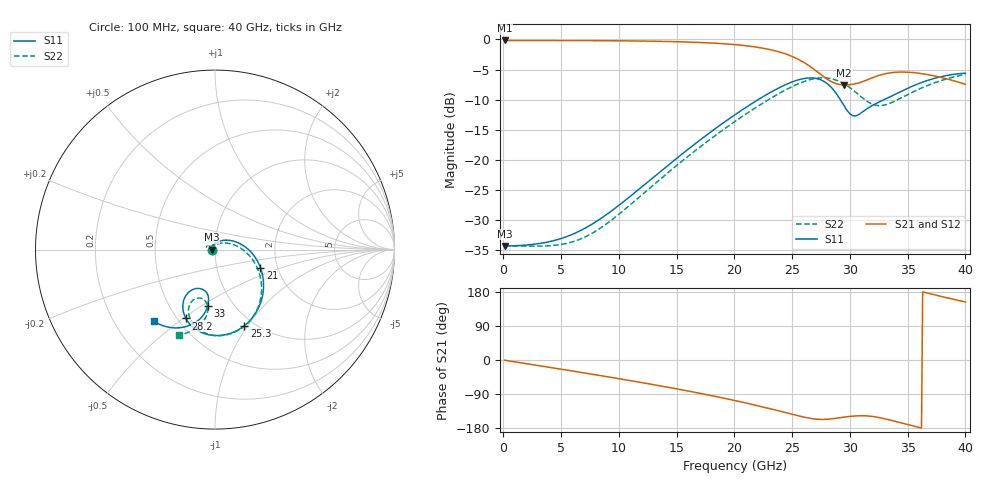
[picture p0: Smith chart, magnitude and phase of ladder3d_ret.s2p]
# Hz S RI R 50
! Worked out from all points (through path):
!   400 points, 100 MHz to 40 GHz, reference 50 ohm
!   highest |S21| = -0.17 dB at 100 MHz (marker M1); lowest = -7.6 dB at 29.5 GHz (marker M2)
!   group delay of S21, straight-line fit = 14.1 ps
!   lowest |S11| = -34.3 dB at 100 MHz (marker M3), VSWR 1.04, Z = 48.1 + j0.0301 ohm
!   |S11| at or under -10 dB: start of sweep to 22.05 GHz; 29.17 GHz to 32.95 GHz (3.781 GHz wide, 12.2 % of centre)
!   |S22| runs from -34.3 to -5.8 dB; largest |S21 - S12| = 0
!   S11 on the Smith chart (normalised r, x): 100 MHz: 0.96, +0.00; 21 GHz: 1.63, -0.36; 25.3 GHz: 0.90, -0.96; 28.2 GHz: 0.55, -0.51; 33 GHz: 0.76, -0.53; 40 GHz: 0.37, -0.41
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1e8  -0.0193 0.000312  0.9807 -0.00824  0.9807 -0.00824  -0.0193 0.00031
3.8e9  -0.0166 0.0124  0.9303 -0.3089  0.9303 -0.3089  -0.0153 0.0119
6.8e9  -0.00894 0.0247  0.8198 -0.5345  0.8198 -0.5345  -0.00538 0.0216
9.2e9  0.00439 0.0365  0.688 -0.6921  0.688 -0.6921  0.00891 0.0295
1.34e10  0.0568 0.0525  0.3731 -0.8902  0.3731 -0.8902  0.0559 0.0369
1.69e10  0.1393 0.0333  0.0466 -0.9436  0.0466 -0.9436  0.124 0.0185
2.01e10  0.2323 -0.0564  -0.2695 -0.8637  -0.2695 -0.8637  0.2042 -0.0491
2.1e10  0.2535 -0.1012  -0.353 -0.8132  -0.353 -0.8132  0.2258 -0.0825
2.34e10  0.2619 -0.2697  -0.5319 -0.6109  -0.5319 -0.6109  0.2597 -0.2125
2.53e10  0.163 -0.4244  -0.579 -0.395  -0.579 -0.395  0.2246 -0.3536
2.67e10  0.00425 -0.4789  -0.5264 -0.25  -0.5264 -0.25  0.1321 -0.4488
2.82e10  -0.1621 -0.3834  -0.4175 -0.1862  -0.4175 -0.1862  -0.0198 -0.4753
2.88e10  -0.1791 -0.3098  -0.3845 -0.1915  -0.3845 -0.1915  -0.0764 -0.4535
2.95e10  -0.1481 -0.238  -0.3643 -0.207  -0.3643 -0.207  -0.1251 -0.4095
3e10  -0.106 -0.2166  -0.36 -0.2184  -0.36 -0.2184  -0.1437 -0.3714
3.05e10  -0.0676 -0.2219  -0.362 -0.2297  -0.362 -0.2297  -0.1478 -0.3337
3.19e10  -0.0359 -0.2793  -0.4092 -0.2486  -0.4092 -0.2486  -0.1042 -0.2719
3.3e10  -0.0416 -0.3151  -0.4688 -0.2194  -0.4688 -0.2194  -0.0625 -0.2785
3.34e10  -0.0457 -0.3284  -0.4873 -0.1988  -0.4873 -0.1988  -0.0523 -0.2886
3.62e10  -0.1325 -0.4183  -0.5205 -0.00426  -0.5205 -0.00426  -0.0591 -0.3906
3.81e10  -0.2368 -0.4355  -0.4649 0.1131  -0.4649 0.1131  -0.1189 -0.4465
4e10  -0.3413 -0.3985  -0.3786 0.192  -0.3786 0.192  -0.1979 -0.4742
